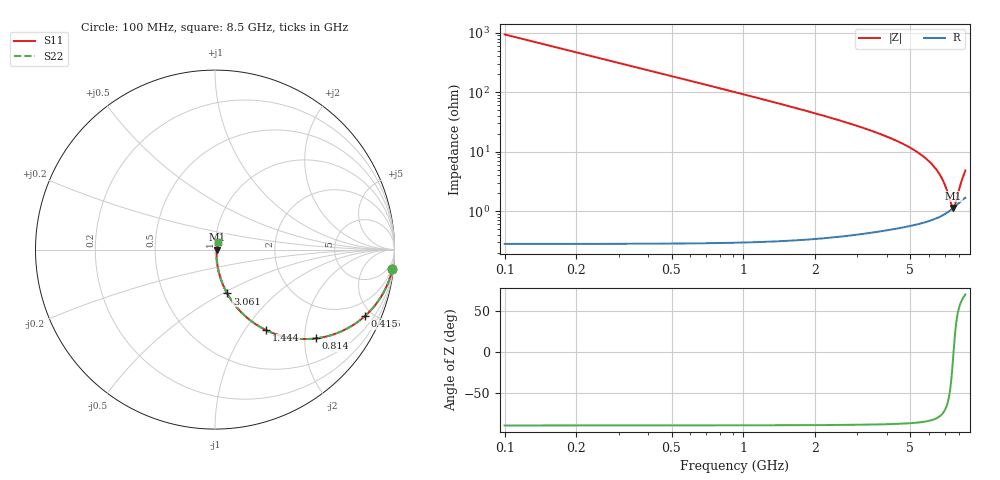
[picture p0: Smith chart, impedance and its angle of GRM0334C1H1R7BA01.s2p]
!Murata Part Number: GRM0334C1H1R7BA01
!These Parameters are Measured in Series Mode Connection
!Data Generated on Mar 30, 2021
!  o--ll--o
!Port1  Port2
!  o------o
!Operation Temp=25[degC], DC Bias Voltage=0[V]
!Freq. Start=100[MHz] Stop=9[GHz] 401[Steps]
# Hz S RI R 50
!Freq.(Hz) S11(Real) S11(Imag) S21(Real) S21(Imag) S12(Real) S12(Imag) S22(Real) S22(Imag)
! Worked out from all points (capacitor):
!   401 points, 100 MHz to 8.5 GHz, reference 50 ohm
!   read as one part in series: C = 1.7 pF near 142 MHz
!   lowest |Z| = 1.13 ohm at 7.555 GHz (marker M1)
!   series resonance near 7.585 GHz, so ESL is about 260 pH
!   S11 on the Smith chart (normalised r, x): 100 MHz: 1, -19; 415 MHz: 1.01, -4.50; 814 MHz: 1.01, -2.28; 1.444 GHz: 1.01, -1.26; 3.061 GHz: 1.01, -0.53; 8.5 GHz: 1.03, +0.09
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1e8  0.9887 -0.1056  0.0113 0.1056  0.0113 0.1056  0.9887 -0.1056
1.84e8  0.9627 -0.1893  0.0373 0.1893  0.0373 0.1893  0.9627 -0.1893
2.47e8  0.9347 -0.2468  0.0653 0.2468  0.0653 0.2468  0.9347 -0.2468
4.15e8  0.8348 -0.3708  0.1652 0.3708  0.1652 0.3708  0.8348 -0.3708
5.83e8  0.7182 -0.449  0.2818 0.449  0.2818 0.449  0.7182 -0.449
8.14e8  0.5645 -0.4945  0.4355 0.4945  0.4355 0.4945  0.5645 -0.4945
1.108e9  0.408 -0.4897  0.592 0.4897  0.592 0.4897  0.408 -0.4897
1.444e9  0.284 -0.4485  0.716 0.4485  0.716 0.4485  0.284 -0.4485
1.507e9  0.266 -0.4393  0.734 0.4393  0.734 0.4393  0.266 -0.4393
2.095e9  0.1507 -0.3537  0.8493 0.3537  0.8493 0.3537  0.1507 -0.3537
2.914e9  0.0762 -0.2584  0.9238 0.2584  0.9238 0.2584  0.0762 -0.2584
3.061e9  0.0681 -0.2444  0.9319 0.2444  0.9319 0.2444  0.0681 -0.2444
4.3e9  0.0288 -0.152  0.9712 0.152  0.9712 0.152  0.0288 -0.152
5.707e9  0.0128 -0.0795  0.9872 0.0795  0.9872 0.0795  0.0128 -0.0795
6.547e9  0.00965 -0.0434  0.9903 0.0434  0.9903 0.0434  0.00965 -0.0434
6.862e9  0.00945 -0.0304  0.9906 0.0304  0.9906 0.0304  0.00945 -0.0304
7.114e9  0.00969 -0.0199  0.9903 0.0199  0.9903 0.0199  0.00969 -0.0199
7.429e9  0.0106 -0.00668  0.9894 0.00668  0.9894 0.00668  0.0106 -0.00668
7.555e9  0.0111 -0.0013  0.9889 0.0013  0.9889 0.0013  0.0111 -0.0013
7.681e9  0.0118 0.00415  0.9882 -0.00415  0.9882 -0.00415  0.0118 0.00415
8.101e9  0.0148 0.0231  0.9852 -0.0231  0.9852 -0.0231  0.0148 0.0231
8.5e9  0.0184 0.0436  0.9816 -0.0436  0.9816 -0.0436  0.0184 0.0436
